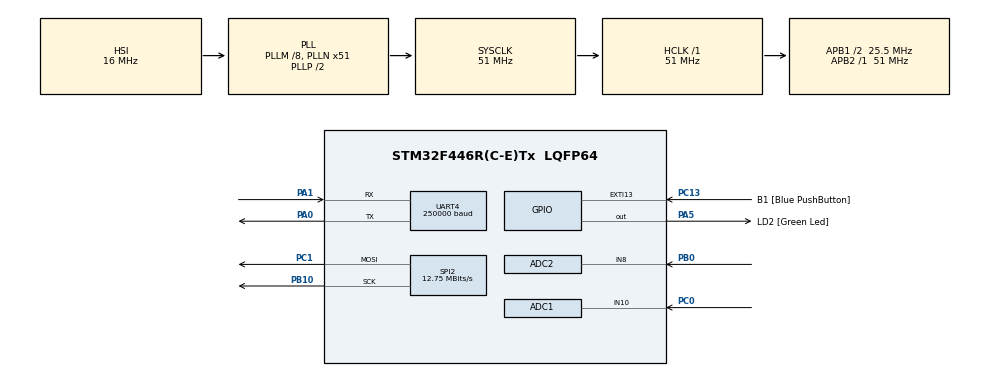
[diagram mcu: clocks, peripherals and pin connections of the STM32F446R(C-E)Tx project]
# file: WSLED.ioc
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ADC1.Channel-0\#ChannelRegularConversion=ADC_CHANNEL_10
ADC1.ClockPrescaler=ADC_CLOCK_SYNC_PCLK_DIV4
ADC1.ContinuousConvMode=ENABLE
ADC1.DMAContinuousRequests=ENABLE
ADC1.DataAlign=ADC_DATAALIGN_RIGHT
ADC1.DiscontinuousConvMode=DISABLE
ADC1.EOCSelection=ADC_EOC_SINGLE_CONV
ADC1.EnableAnalogWatchDog=false
ADC1.ExternalTrigConv=ADC_SOFTWARE_START
ADC1.ExternalTrigConvEdge=ADC_EXTERNALTRIGCONVEDGE_NONE
ADC1.InjNumberOfConversion=0
ADC1.NbrOfConversion=1
ADC1.NbrOfConversionFlag=1
ADC1.Rank-0\#ChannelRegularConversion=1
ADC1.Resolution=ADC_RESOLUTION_12B
ADC1.SamplingTime-0\#ChannelRegularConversion=ADC_SAMPLETIME_3CYCLES
ADC1.ScanConvMode=ENABLE
ADC1.master=1
ADC2.Channel-16\#ChannelRegularConversion=ADC_CHANNEL_8
ADC2.ClockPrescaler=ADC_CLOCK_SYNC_PCLK_DIV4
ADC2.ContinuousConvMode=ENABLE
ADC2.DMAContinuousRequests=ENABLE
ADC2.DataAlign=ADC_DATAALIGN_RIGHT
ADC2.DiscontinuousConvMode=DISABLE
ADC2.EOCSelection=ADC_EOC_SINGLE_CONV
ADC2.EnableAnalogWatchDog=false
ADC2.ExternalTrigConv=ADC_SOFTWARE_START
ADC2.ExternalTrigConvEdge=ADC_EXTERNALTRIGCONVEDGE_NONE
ADC2.InjNumberOfConversion=0
ADC2.NbrOfConversion=1
ADC2.NbrOfConversionFlag=1
ADC2.Rank-16\#ChannelRegularConversion=1
ADC2.Resolution=ADC_RESOLUTION_12B
ADC2.SamplingTime-16\#ChannelRegularConversion=ADC_SAMPLETIME_3CYCLES
ADC2.ScanConvMode=ENABLE
Dma.ADC1.1.Direction=DMA_PERIPH_TO_MEMORY
Dma.ADC1.1.FIFOMode=DMA_FIFOMODE_DISABLE
Dma.ADC1.1.Instance=DMA2_Stream0
Dma.ADC1.1.MemDataAlignment=DMA_MDATAALIGN_HALFWORD
Dma.ADC1.1.MemInc=DMA_MINC_ENABLE
Dma.ADC1.1.Mode=DMA_CIRCULAR
Dma.ADC1.1.PeriphDataAlignment=DMA_PDATAALIGN_HALFWORD
Dma.ADC1.1.PeriphInc=DMA_PINC_DISABLE
Dma.ADC1.1.Priority=DMA_PRIORITY_HIGH
Dma.ADC2.2.Direction=DMA_PERIPH_TO_MEMORY
Dma.ADC2.2.FIFOMode=DMA_FIFOMODE_DISABLE
Dma.ADC2.2.Instance=DMA2_Stream2
Dma.ADC2.2.MemDataAlignment=DMA_MDATAALIGN_HALFWORD
Dma.ADC2.2.MemInc=DMA_MINC_ENABLE
Dma.ADC2.2.Mode=DMA_CIRCULAR
Dma.ADC2.2.PeriphDataAlignment=DMA_PDATAALIGN_HALFWORD
Dma.ADC2.2.PeriphInc=DMA_PINC_DISABLE
Dma.ADC2.2.Priority=DMA_PRIORITY_HIGH
Dma.Request0=SPI2_TX
Dma.Request1=ADC1
Dma.Request2=ADC2
Dma.SPI2_TX.0.Direction=DMA_MEMORY_TO_PERIPH
Dma.SPI2_TX.0.FIFOMode=DMA_FIFOMODE_DISABLE
Dma.SPI2_TX.0.Instance=DMA1_Stream4
Dma.SPI2_TX.0.MemDataAlignment=DMA_MDATAALIGN_HALFWORD
Dma.SPI2_TX.0.MemInc=DMA_MINC_ENABLE
Dma.SPI2_TX.0.Mode=DMA_NORMAL
Dma.SPI2_TX.0.PeriphDataAlignment=DMA_PDATAALIGN_HALFWORD
Dma.SPI2_TX.0.PeriphInc=DMA_PINC_DISABLE
Dma.SPI2_TX.0.Priority=DMA_PRIORITY_LOW
Mcu.Family=STM32F4
Mcu.Name=STM32F446R(C-E)Tx
Mcu.Package=LQFP64
NVIC.ADC_IRQn=true\:0\:0\:false\:false\:true
NVIC.DMA1_Stream4_IRQn=true\:0\:0\:false\:false\:true
NVIC.DMA2_Stream0_IRQn=true\:0\:0\:false\:false\:true
NVIC.DMA2_Stream2_IRQn=true\:0\:0\:false\:false\:true
NVIC.PriorityGroup=NVIC_PRIORITYGROUP_0
PA0-WKUP.Mode=Asynchronous
PA0-WKUP.Signal=UART4_TX
PA1.Mode=Asynchronous
PA1.Signal=UART4_RX
PA13.GPIO_Label=TMS
PA13.Signal=SYS_JTMS-SWDIO
PA14.GPIO_Label=TCK
PA14.Signal=SYS_JTCK-SWCLK
PA2.GPIO_Label=USART_TX
PA2.Signal=USART2_TX
PA3.GPIO_Label=USART_RX
PA3.Signal=USART2_RX
PA5.GPIO_Label=LD2 [Green Led]
PA5.Signal=GPIO_Output
PB0.Signal=ADCx_IN8
PB10.Mode=TX_Only_Simplex_Unidirect_Master
PB10.Signal=SPI2_SCK
PB3.GPIO_Label=SWO
PB3.Signal=SYS_JTDO-SWO
PC0.Signal=ADCx_IN10
PC1.Mode=TX_Only_Simplex_Unidirect_Master
PC1.Signal=SPI2_MOSI
PC13.GPIO_Label=B1 [Blue PushButton]
PC13.GPIO_ModeDefaultEXTI=GPIO_MODE_IT_RISING_FALLING
PC13.GPIO_PuPd=GPIO_NOPULL
PC13.Signal=GPXTI13
PC14-OSC32_IN.Signal=RCC_OSC32_IN
PC15-OSC32_OUT.Signal=RCC_OSC32_OUT
PH0-OSC_IN.Signal=RCC_OSC_IN
PH1-OSC_OUT.Signal=RCC_OSC_OUT
ProjectManager.HeapSize=0x200
ProjectManager.StackSize=0x400
ProjectManager.TargetToolchain=TrueSTUDIO
RCC.AHBFreq_Value=51000000
RCC.APB1CLKDivider=RCC_HCLK_DIV2
RCC.APB1Freq_Value=25500000
RCC.APB1TimFreq_Value=51000000
RCC.APB2Freq_Value=51000000
RCC.APB2TimFreq_Value=51000000
RCC.CortexFreq_Value=51000000
RCC.FLatency-AdvancedSettings=FLASH_LATENCY_1
RCC.HCLKFreq_Value=51000000
RCC.HSE_VALUE=8000000
RCC.HSI_VALUE=16000000
RCC.LSE_VALUE=32768
RCC.PLLM=8
RCC.PLLN=51
RCC.SYSCLKFreq_VALUE=51000000
RCC.SYSCLKSource=RCC_SYSCLKSOURCE_PLLCLK
RCC.USBFreq_Value=51000000
RCC.VCOOutputFreq_Value=102000000
SH.ADCx_IN10.0=ADC1_IN10,IN10
SH.ADCx_IN8.0=ADC2_IN8,IN8
SPI2.BaudRatePrescaler=SPI_BAUDRATEPRESCALER_2
SPI2.CLKPolarity=SPI_POLARITY_HIGH
SPI2.CalculateBaudRate=12.75 MBits/s
SPI2.DataSize=SPI_DATASIZE_16BIT
SPI2.Mode=SPI_MODE_MASTER
UART4.BaudRate=250000
board=NUCLEO-F446RE

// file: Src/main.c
/**
  ******************************************************************************
  * File Name          : main.c
  * Description        : Main program body
  ******************************************************************************
  *
  * COPYRIGHT(c) 2017 STMicroelectronics
  *
  * Redistribution and use in source and binary forms, with or without modification,
  * are permitted provided that the following conditions are met:
  *   1. Redistributions of source code must retain the above copyright notice,
  *      this list of conditions and the following disclaimer.
  *   2. Redistributions in binary form must reproduce the above copyright notice,
  *      this list of conditions and the following disclaimer in the documentation
  *      and/or other materials provided with the distribution.
  *   3. Neither the name of STMicroelectronics nor the names of its contributors
  *      may be used to endorse or promote products derived from this software
  *      without specific prior written permission.
  *
  * THIS SOFTWARE IS PROVIDED BY THE COPYRIGHT HOLDERS AND CONTRIBUTORS "AS IS"
  * AND ANY EXPRESS OR IMPLIED WARRANTIES, INCLUDING, BUT NOT LIMITED TO, THE
  * IMPLIED WARRANTIES OF MERCHANTABILITY AND FITNESS FOR A PARTICULAR PURPOSE ARE
  * DISCLAIMED. IN NO EVENT SHALL THE COPYRIGHT HOLDER OR CONTRIBUTORS BE LIABLE
  * FOR ANY DIRECT, INDIRECT, INCIDENTAL, SPECIAL, EXEMPLARY, OR CONSEQUENTIAL
  * DAMAGES (INCLUDING, BUT NOT LIMITED TO, PROCUREMENT OF SUBSTITUTE GOODS OR
  * SERVICES; LOSS OF USE, DATA, OR PROFITS; OR BUSINESS INTERRUPTION) HOWEVER
  * CAUSED AND ON ANY THEORY OF LIABILITY, WHETHER IN CONTRACT, STRICT LIABILITY,
  * OR TORT (INCLUDING NEGLIGENCE OR OTHERWISE) ARISING IN ANY WAY OUT OF THE USE
  * OF THIS SOFTWARE, EVEN IF ADVISED OF THE POSSIBILITY OF SUCH DAMAGE.
  *
  ******************************************************************************
  */
#include "main.h"
#include "stm32f4xx_hal.h"

/* USER CODE BEGIN Includes */
#define ARM_MATH_CM4
#include "arm_math.h"

/* USER CODE END Includes */

ADC_HandleTypeDef hadc1;
ADC_HandleTypeDef hadc2;
DMA_HandleTypeDef hdma_adc1;
DMA_HandleTypeDef hdma_adc2;

SPI_HandleTypeDef hspi2;
DMA_HandleTypeDef hdma_spi2_tx;

UART_HandleTypeDef huart4;

/* USER CODE BEGIN PV */
/* Private variables ---------------------------------------------------------*/
#define LED_COUNT 84
#define COLOR_COUNT LED_COUNT*3
#define ADC_COUNT 1024
static uint8_t colors[COLOR_COUNT];

float32_t fft_input[ADC_COUNT*2];
float32_t fft_output[ADC_COUNT];
float32_t avgvalue[14];
uint8_t colheights[14];

uint8_t mode = 0;

uint8_t printbuffer[50];
uint8_t adc_flag = 0;

uint16_t adcValue[ADC_COUNT];
uint16_t adcValueAmpfiled[ADC_COUNT];

uint16_t colheight ;
uint16_t adc_value_min = 2000;

arm_cfft_radix4_instance_f32 S;

/* USER CODE END PV */

void SystemClock_Config(void);
void Error_Handler(void);
static void MX_GPIO_Init(void);
static void MX_DMA_Init(void);
static void MX_SPI2_Init(void);
static void MX_ADC1_Init(void);
static void MX_UART4_Init(void);
static void MX_ADC2_Init(void);

/* USER CODE BEGIN PFP */
/* Private function prototypes -----------------------------------------------*/

/* USER CODE END PFP */

/* USER CODE BEGIN 0 */

uint16_t getcolumnheight(uint8_t col){

	float32_t colh = avgvalue[col];

	colh = (col - 2000 ) / 2000 ;

	uint16_t colheight = (uint16_t)colh;

	if(colheight >6){
		colheight = 6;
	}
	if(colheight <1){
		colheight =1;
	}

	return colheight;

	/*uint32_t sum = 0 ;
	for(uint16_t i = 0 ; i < ADC_COUNT ; i++){
		sum = sum + adcValueAmpfiled[i];
	}

	sum = sum / ADC_COUNT;
	sum = sum / 444;

	return sum;*/
}

void writeLed() {
	//arm_rfft_fast_f32()
	uint16_t res = 50;

	uint16_t temp[COLOR_COUNT *8 +res+20];
	uint16_t i, j, k ;

	for(k=0 ; k<20; k++){
		temp[k]=0b0000000000000000;
	}

	for (i = 0 ; i < COLOR_COUNT; i++) {
		for (j = 0; j < 8; j++) {
			if ((colors[i] & (128 >> j)) != 0) {
				temp[i * 8 + j+20] = 0b1111111110000000;
			} else
				temp[i * 8 + j+20] = 0b1111100000000000;
		}
	}

	for(k=COLOR_COUNT*8+20 ; k<COLOR_COUNT*8 +res+20; k++){
		temp[k]=0b0000000000000000;
	}

	HAL_SPI_Transmit_DMA(&hspi2,temp,COLOR_COUNT*8+res+20);
	//HAL_SPI_Transmit(&hspi2,temp,COLOR_COUNT*8+res,COLOR_COUNT*8*1000000);

}

void resetLed(){
	uint8_t temp[500];
	uint16_t i;
	for(i=0;i<500;i++){
		temp[i]=0;
	}
	HAL_SPI_Transmit(&hspi2,temp,500,100000);

}

void setColor(uint8_t g, uint8_t r, uint8_t b)
{
	uint8_t t;
	  for(t = 0; t < COLOR_COUNT; t++)
	  {
		  if(t%3 == 0)
		  {
			  colors[t] = g;
		  }
		  if(t%3 == 1)
		  {
			  colors[t] = r;
		  }
		  if(t%3 == 2)
		  {
			  colors[t] = b;
		  }
	  }

}

void setLedColorAt(int index,uint8_t g, uint8_t r, uint8_t b)
{
	if(index < LED_COUNT)
	  colors[index*3] = g;

	  colors[(index*3)+1] = r;

	  colors[(index*3)+2] = b;
}

void setColumColorNewPanel(int index,int fill,uint8_t g, uint8_t r, uint8_t b)
{
	uint8_t t = 0;
	if(t<fill)
	{
		colors[0+(index*3)] = g;
		colors[1+(index*3)] = r;
		colors[2+(index*3)] = b;
		t++;
	}
	else
	{
		colors[0+(index*3)] = 0;
		colors[1+(index*3)] = 0;
		colors[2+(index*3)] = 0;
	}

	if(t<fill)
	{
		colors[(27*3)+0-(index*3)] = g;
		colors[(27*3)+1-(index*3)] = r;
		colors[(27*3)+2-(index*3)] = b;
		t++;
	}
	else
	{
		colors[(27*3)+0-(index*3)] = 0;
		colors[(27*3)+1-(index*3)] = 0;
		colors[(27*3)+2-(index*3)] = 0;
	}

	if(t<fill)
	{
		colors[(28*3)+0+(index*3)] = g;
		colors[(28*3)+1+(index*3)] = r;
		colors[(28*3)+2+(index*3)] = b;
		t++;
	}
	else
	{
		colors[(28*3)+0+(index*3)] = 0;
		colors[(28*3)+1+(index*3)] = 0;
		colors[(28*3)+2+(index*3)] = 0;
	}

	if(t<fill)
	{
		colors[(55*3)+0-(index*3)] = g;
		colors[(55*3)+1-(index*3)] = r;
		colors[(55*3)+2-(index*3)] = b;
		t++;
	}
	else
	{
		colors[(55*3)+0-(index*3)] = 0;
		colors[(55*3)+1-(index*3)] = 0;
		colors[(55*3)+2-(index*3)] = 0;
	}

	if(t<fill)
	{
		colors[(56*3)+0+(index*3)] = g;
		colors[(56*3)+1+(index*3)] = r;
		colors[(56*3)+2+(index*3)] = b;
		t++;
	}
	else
	{
		colors[(56*3)+0+(index*3)] = 0;
		colors[(56*3)+1+(index*3)] = 0;
		colors[(56*3)+2+(index*3)] = 0;
	}

	if(t<fill)
	{
		colors[(83*3)+0-(index*3)] = g;
		colors[(83*3)+1-(index*3)] = r;
		colors[(83*3)+2-(index*3)] = b;
		t++;
	}
	else
	{
		colors[(83*3)+0-(index*3)] = 0;
		colors[(83*3)+1-(index*3)] = 0;
		colors[(83*3)+2-(index*3)] = 0;
	}

}

void setColumColor(int index,int full,uint8_t g, uint8_t r, uint8_t b)
{
	int act = 0;
	for(act = 0; act < full ; act++)
	{
		  colors[(index*27 + act*3)] = g;

		  colors[(index*27 + act*3)+1] = r;

		  colors[(index*27 + act*3)+2] = b;

	}

	for(act = full; act < 9 ; act++)
	{
		  colors[(index*27 + act*3)] = 0;

		  colors[(index*27 + act*3)+1] = 0;

		  colors[(index*27 + act*3)+2] = 0;

	}

}

void fft_transform(){
	adc_value_min = 2000;
	for(uint16_t i = 0; i<ADC_COUNT; i++)
		{
			uint16_t adc_value_ampfiled = 3;

			if(adcValue[i]<adc_value_min){
				adc_value_min = adcValue[i];
			}

			if(adcValue[i]<1850){
				adc_value_ampfiled = 2;
			}
			if(adcValue[i]>2200){
						adc_value_ampfiled = 4096;
			}
			if(adcValue[i]>1849 && adcValue[i]<2201){
						adc_value_ampfiled = (adcValue[i]*12)-22200 ;
			}

			adcValueAmpfiled[i]=adc_value_ampfiled;
			fft_input[i*2]=(float32_t)adc_value_ampfiled;
			fft_input[(i*2)+1]=0;
		}

	arm_cfft_radix4_f32(&S,fft_input);
	arm_cmplx_mag_f32(fft_input, fft_output, ADC_COUNT);

	for(uint8_t i = 0; i<14;i++){
		float32_t sum = 0;
		for(uint8_t j = 0; j<65 ; j++){
			 sum += fft_output[j+(i*65)+112];
		}
		sum = sum/65;

		avgvalue[i]=sum;

		avgvalue[i] = (avgvalue[i]-900) / 500;

	}

	for(uint8_t i = 0; i<14;i++){
		colheights[i] = (uint8_t) avgvalue[i];

		if(colheights[i] >6){
			colheights[i] =6;
		}
		if(colheights[i] <0){
			colheights[i] =0;
		}
	}

	setColumColorNewPanel(0,colheights[0],0,0,8);
	setColumColorNewPanel(1,colheights[1],0,2,8);

	setColumColorNewPanel(2,colheights[2],0,4,8);
	setColumColorNewPanel(3,colheights[3],0,6,8);

	setColumColorNewPanel(4,colheights[4],0,10,8);
	setColumColorNewPanel(5,colheights[5],0,15,8);

	setColumColorNewPanel(6,colheights[6],0,18,5);
	setColumColorNewPanel(7,colheights[7],0,18,5);

	setColumColorNewPanel(8,colheights[8],0,15,8);
	setColumColorNewPanel(9,colheights[9],0,10,8);

	setColumColorNewPanel(10,colheights[10],0,6,8);
	setColumColorNewPanel(11,colheights[11],0,4,8);

	setColumColorNewPanel(12,colheights[12],0,2,8);
	setColumColorNewPanel(13,colheights[13],0,0,8);

/*
	setColumColor(0,colheight,2,0,2);

	setColumColor(1,colheight,2,0,2);
	setColumColor(2,colheight,2,0,2);
	setColumColor(3,colheight,2,0,2);
	setColumColor(4,colheight,2,0,2);
	setColumColor(5,colheight,2,0,2);
*/

	//setColor(2,0,1);

	//HAL_GPIO_TogglePin(LD2_GPIO_Port, LD2_Pin);

}

void HAL_SPI_TxCpltCallback(SPI_HandleTypeDef *hspi){

	GPIO_PinState buttonState = HAL_GPIO_ReadPin(B1_GPIO_Port,B1_Pin);
	if(buttonState == GPIO_PIN_RESET){
		if(mode==1){
			mode=0;
		}
		else{
			mode=1;
		}
		HAL_GPIO_WritePin(B1_GPIO_Port,B1_Pin,GPIO_PIN_SET);
		HAL_GPIO_TogglePin(LD2_GPIO_Port, LD2_Pin);
	}

	if(mode==0){
		HAL_ADC_Start_DMA(&hadc1, adcValue, ADC_COUNT);
	}
	if(mode==1){
		HAL_ADC_Start_DMA(&hadc2, adcValue, ADC_COUNT);
	}
	//HAL_ADC_Start_DMA(&hadc2, adcValue, ADC_COUNT);
}

void HAL_ADC_ConvCpltCallback(ADC_HandleTypeDef* hadc){
/*
	HAL_ADC_Stop_DMA(&hadc2);
	writeLed();
	fft_transform();
*/

	if(mode==0){
		HAL_ADC_Stop_DMA(&hadc1);
	}
	if(mode==1){
		HAL_ADC_Stop_DMA(&hadc2);
	}
	writeLed();
	fft_transform();

}

void HAL_UART_RxCpltCallback(UART_HandleTypeDef *huart){
	HAL_GPIO_TogglePin(LD2_GPIO_Port, LD2_Pin);
}

/* USER CODE END 0 */

int main(void)
{

  /* MCU Configuration----------------------------------------------------------*/

  /* Reset of all peripherals, Initializes the Flash interface and the Systick. */
  HAL_Init();

  /* Configure the system clock */
  SystemClock_Config();

  /* Initialize all configured peripherals */
  MX_GPIO_Init();
  MX_DMA_Init();
  MX_SPI2_Init();
  MX_ADC1_Init();
  MX_UART4_Init();
  MX_ADC2_Init();

  /* USER CODE BEGIN 2 */
  	  //HAL_DMA_RegisterCallback(&hdma_spi2_tx,HAL_DMA_XFER_CPLT_CB_ID, spidmacallback);
  	  HAL_ADC_Start_DMA(&hadc1, adcValue, ADC_COUNT);
  	  setColor(0,0,0);

  	arm_cfft_radix4_init_f32(&S, ADC_COUNT, 0, 1);

  /* USER CODE END 2 */

  /* Infinite loop */
	while (1) {

  /* USER CODE BEGIN 3 */

		//sprintf(printbuffer, "AD=%d\r\n", 300);
		//HAL_UART_Transmit(&huart4, printbuffer, strlen(printbuffer), 5000);

	}
  /* USER CODE END 3 */

}

/** System Clock Configuration
*/
void SystemClock_Config(void)
{

  RCC_OscInitTypeDef RCC_OscInitStruct;
  RCC_ClkInitTypeDef RCC_ClkInitStruct;

    /**Configure the main internal regulator output voltage
    */
  __HAL_RCC_PWR_CLK_ENABLE();

  __HAL_PWR_VOLTAGESCALING_CONFIG(PWR_REGULATOR_VOLTAGE_SCALE3);

    /**Initializes the CPU, AHB and APB busses clocks
    */
  RCC_OscInitStruct.OscillatorType = RCC_OSCILLATORTYPE_HSI;
  RCC_OscInitStruct.HSIState = RCC_HSI_ON;
  RCC_OscInitStruct.HSICalibrationValue = 16;
  RCC_OscInitStruct.PLL.PLLState = RCC_PLL_ON;
  RCC_OscInitStruct.PLL.PLLSource = RCC_PLLSOURCE_HSI;
  RCC_OscInitStruct.PLL.PLLM = 8;
  RCC_OscInitStruct.PLL.PLLN = 51;
  RCC_OscInitStruct.PLL.PLLP = RCC_PLLP_DIV2;
  RCC_OscInitStruct.PLL.PLLQ = 2;
  RCC_OscInitStruct.PLL.PLLR = 2;
  if (HAL_RCC_OscConfig(&RCC_OscInitStruct) != HAL_OK)
  {
    Error_Handler();
  }

    /**Initializes the CPU, AHB and APB busses clocks
    */
  RCC_ClkInitStruct.ClockType = RCC_CLOCKTYPE_HCLK|RCC_CLOCKTYPE_SYSCLK
                              |RCC_CLOCKTYPE_PCLK1|RCC_CLOCKTYPE_PCLK2;
  RCC_ClkInitStruct.SYSCLKSource = RCC_SYSCLKSOURCE_PLLCLK;
  RCC_ClkInitStruct.AHBCLKDivider = RCC_SYSCLK_DIV1;
  RCC_ClkInitStruct.APB1CLKDivider = RCC_HCLK_DIV2;
  RCC_ClkInitStruct.APB2CLKDivider = RCC_HCLK_DIV1;

  if (HAL_RCC_ClockConfig(&RCC_ClkInitStruct, FLASH_LATENCY_1) != HAL_OK)
  {
    Error_Handler();
  }

    /**Configure the Systick interrupt time
    */
  HAL_SYSTICK_Config(HAL_RCC_GetHCLKFreq()/1000);

    /**Configure the Systick
    */
  HAL_SYSTICK_CLKSourceConfig(SYSTICK_CLKSOURCE_HCLK);

  /* SysTick_IRQn interrupt configuration */
  HAL_NVIC_SetPriority(SysTick_IRQn, 0, 0);
}

/* ADC1 init function */
static void MX_ADC1_Init(void)
{

  ADC_ChannelConfTypeDef sConfig;

    /**Configure the global features of the ADC (Clock, Resolution, Data Alignment and number of conversion)
    */
  hadc1.Instance = ADC1;
  hadc1.Init.ClockPrescaler = ADC_CLOCK_SYNC_PCLK_DIV4;
  hadc1.Init.Resolution = ADC_RESOLUTION_12B;
  hadc1.Init.ScanConvMode = ENABLE;
  hadc1.Init.ContinuousConvMode = ENABLE;
  hadc1.Init.DiscontinuousConvMode = DISABLE;
  hadc1.Init.ExternalTrigConvEdge = ADC_EXTERNALTRIGCONVEDGE_NONE;
  hadc1.Init.ExternalTrigConv = ADC_SOFTWARE_START;
  hadc1.Init.DataAlign = ADC_DATAALIGN_RIGHT;
  hadc1.Init.NbrOfConversion = 1;
  hadc1.Init.DMAContinuousRequests = ENABLE;
  hadc1.Init.EOCSelection = ADC_EOC_SINGLE_CONV;
  if (HAL_ADC_Init(&hadc1) != HAL_OK)
  {
    Error_Handler();
  }

    /**Configure for the selected ADC regular channel its corresponding rank in the sequencer and its sample time.
    */
  sConfig.Channel = ADC_CHANNEL_10;
  sConfig.Rank = 1;
  sConfig.SamplingTime = ADC_SAMPLETIME_3CYCLES;
  if (HAL_ADC_ConfigChannel(&hadc1, &sConfig) != HAL_OK)
  {
    Error_Handler();
  }

}

/* ADC2 init function */
static void MX_ADC2_Init(void)
{

  ADC_ChannelConfTypeDef sConfig;

    /**Configure the global features of the ADC (Clock, Resolution, Data Alignment and number of conversion)
    */
  hadc2.Instance = ADC2;
  hadc2.Init.ClockPrescaler = ADC_CLOCK_SYNC_PCLK_DIV4;
  hadc2.Init.Resolution = ADC_RESOLUTION_12B;
  hadc2.Init.ScanConvMode = ENABLE;
  hadc2.Init.ContinuousConvMode = ENABLE;
  hadc2.Init.DiscontinuousConvMode = DISABLE;
  hadc2.Init.ExternalTrigConvEdge = ADC_EXTERNALTRIGCONVEDGE_NONE;
  hadc2.Init.ExternalTrigConv = ADC_SOFTWARE_START;
  hadc2.Init.DataAlign = ADC_DATAALIGN_RIGHT;
  hadc2.Init.NbrOfConversion = 1;
  hadc2.Init.DMAContinuousRequests = ENABLE;
  hadc2.Init.EOCSelection = ADC_EOC_SINGLE_CONV;
  if (HAL_ADC_Init(&hadc2) != HAL_OK)
  {
    Error_Handler();
  }

    /**Configure for the selected ADC regular channel its corresponding rank in the sequencer and its sample time.
    */
  sConfig.Channel = ADC_CHANNEL_8;
  sConfig.Rank = 1;
  sConfig.SamplingTime = ADC_SAMPLETIME_3CYCLES;
  if (HAL_ADC_ConfigChannel(&hadc2, &sConfig) != HAL_OK)
  {
    Error_Handler();
  }

}

/* SPI2 init function */
static void MX_SPI2_Init(void)
{

  hspi2.Instance = SPI2;
  hspi2.Init.Mode = SPI_MODE_MASTER;
  hspi2.Init.Direction = SPI_DIRECTION_2LINES;
  hspi2.Init.DataSize = SPI_DATASIZE_16BIT;
  hspi2.Init.CLKPolarity = SPI_POLARITY_HIGH;
  hspi2.Init.CLKPhase = SPI_PHASE_1EDGE;
  hspi2.Init.NSS = SPI_NSS_SOFT;
  hspi2.Init.BaudRatePrescaler = SPI_BAUDRATEPRESCALER_2;
  hspi2.Init.FirstBit = SPI_FIRSTBIT_MSB;
  hspi2.Init.TIMode = SPI_TIMODE_DISABLE;
  hspi2.Init.CRCCalculation = SPI_CRCCALCULATION_DISABLE;
  hspi2.Init.CRCPolynomial = 10;
  if (HAL_SPI_Init(&hspi2) != HAL_OK)
  {
    Error_Handler();
  }

}

/* UART4 init function */
static void MX_UART4_Init(void)
{

  huart4.Instance = UART4;
  huart4.Init.BaudRate = 250000;
  huart4.Init.WordLength = UART_WORDLENGTH_8B;
  huart4.Init.StopBits = UART_STOPBITS_1;
  huart4.Init.Parity = UART_PARITY_NONE;
  huart4.Init.Mode = UART_MODE_TX_RX;
  huart4.Init.HwFlowCtl = UART_HWCONTROL_NONE;
  huart4.Init.OverSampling = UART_OVERSAMPLING_16;
  if (HAL_UART_Init(&huart4) != HAL_OK)
  {
    Error_Handler();
  }

}

static void MX_DMA_Init(void)
{
  /* DMA controller clock enable */
  __HAL_RCC_DMA1_CLK_ENABLE();
  __HAL_RCC_DMA2_CLK_ENABLE();

  /* DMA interrupt init */
  /* DMA1_Stream4_IRQn interrupt configuration */
  HAL_NVIC_SetPriority(DMA1_Stream4_IRQn, 0, 0);
  HAL_NVIC_EnableIRQ(DMA1_Stream4_IRQn);
  /* DMA2_Stream0_IRQn interrupt configuration */
  HAL_NVIC_SetPriority(DMA2_Stream0_IRQn, 0, 0);
  HAL_NVIC_EnableIRQ(DMA2_Stream0_IRQn);
  /* DMA2_Stream2_IRQn interrupt configuration */
  HAL_NVIC_SetPriority(DMA2_Stream2_IRQn, 0, 0);
  HAL_NVIC_EnableIRQ(DMA2_Stream2_IRQn);

}

/** Configure pins as
        * Analog
        * Input
        * Output
        * EVENT_OUT
        * EXTI
     PA2   ------> USART2_TX
     PA3   ------> USART2_RX
*/
static void MX_GPIO_Init(void)
{

  GPIO_InitTypeDef GPIO_InitStruct;

  /* GPIO Ports Clock Enable */
  __HAL_RCC_GPIOC_CLK_ENABLE();
  __HAL_RCC_GPIOH_CLK_ENABLE();
  __HAL_RCC_GPIOA_CLK_ENABLE();
  __HAL_RCC_GPIOB_CLK_ENABLE();

  /*Configure GPIO pin Output Level */
  HAL_GPIO_WritePin(LD2_GPIO_Port, LD2_Pin, GPIO_PIN_RESET);

  /*Configure GPIO pin : B1_Pin */
  GPIO_InitStruct.Pin = B1_Pin;
  GPIO_InitStruct.Mode = GPIO_MODE_IT_RISING_FALLING;
  GPIO_InitStruct.Pull = GPIO_NOPULL;
  HAL_GPIO_Init(B1_GPIO_Port, &GPIO_InitStruct);

  /*Configure GPIO pins : USART_TX_Pin USART_RX_Pin */
  GPIO_InitStruct.Pin = USART_TX_Pin|USART_RX_Pin;
  GPIO_InitStruct.Mode = GPIO_MODE_AF_PP;
  GPIO_InitStruct.Pull = GPIO_NOPULL;
  GPIO_InitStruct.Speed = GPIO_SPEED_FREQ_VERY_HIGH;
  GPIO_InitStruct.Alternate = GPIO_AF7_USART2;
  HAL_GPIO_Init(GPIOA, &GPIO_InitStruct);

  /*Configure GPIO pin : LD2_Pin */
  GPIO_InitStruct.Pin = LD2_Pin;
  GPIO_InitStruct.Mode = GPIO_MODE_OUTPUT_PP;
  GPIO_InitStruct.Pull = GPIO_NOPULL;
  GPIO_InitStruct.Speed = GPIO_SPEED_FREQ_LOW;
  HAL_GPIO_Init(LD2_GPIO_Port, &GPIO_InitStruct);

}

void Error_Handler(void)
{
	while (1) {
	}
}

/************************ (C) COPYRIGHT STMicroelectronics *****END OF FILE****/
